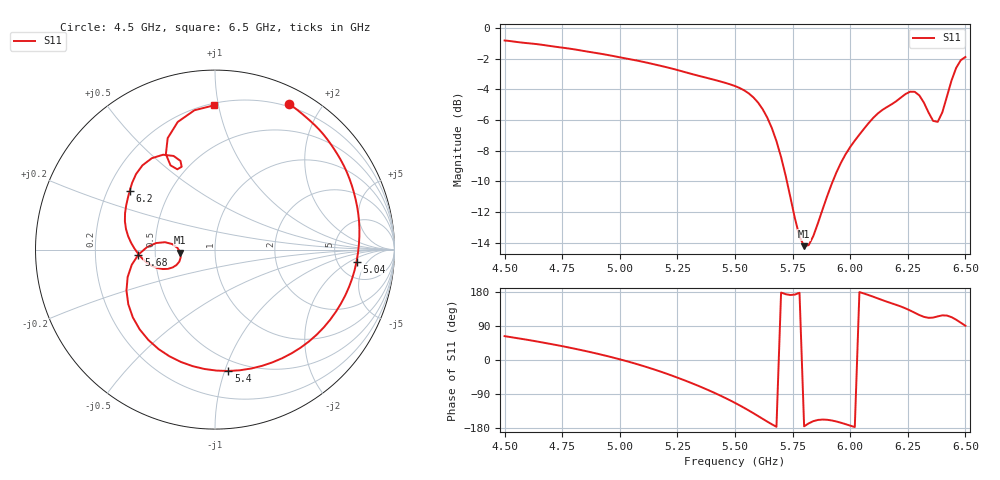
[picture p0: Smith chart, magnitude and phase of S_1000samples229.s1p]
! TOUCHSTONE file generated by CST MICROWAVE STUDIO
! Date and time: Thu Oct 27 11:04:30 2022
! Project name: L.cst
! Parameters = {Di=1.27; Epsilon_r=1.56; InnerDiameter=1.27; Length=2; Lf=10; Lg=60; OuterConductorThickness=0.2921; OuterDiameter=3.6; Wf=3; Wp=41.2; de=1.5; df=6.8; g=0.8; gx=1.44995; gy=0.544744; h=2.34; hf=1.524; px=8.65801; py=11.2302; w=9.7; wx=7.20805; wy=10.6855}
! Header version: 2018
! Port assignment regex: !\s*Touchstone port\s*([0-9]+)\s*=\s*(CST MWS port|CST DS port)\s*([0-9]+|Zmin|Zmax)\s*\(\"(.*)\"\)(\s*mode\s*([0-9]+))?.*
! Touchstone port assignment:
! Touchstone port 1 = CST MWS port 1 ("")
# GHz S DB R 50
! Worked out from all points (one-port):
!   101 points, 4.5 GHz to 6.5 GHz, reference 50 ohm
!   lowest |S11| = -14.2 dB at 5.8 GHz (marker M1), VSWR 1.48, Z = 33.8 - j1.18 ohm
!   |S11| at or under -10 dB: 5.725 GHz to 5.924 GHz (199.1 MHz wide, 3.42 % of centre)
!   S11 on the Smith chart (normalised r, x): 4.5 GHz: 0.17, +1.62; 5.04 GHz: 7.61, -2.71; 5.4 GHz: 0.41, -1.03; 5.68 GHz: 0.40, -0.03; 6.2 GHz: 0.29, +0.29; 6.5 GHz: 0.21, +0.97
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4.5  -0.82 63.0
4.76  -1.31 35.3
4.9  -1.64 17.0
5  -1.92 1.8
5.04  -2.03 -4.8
5.16  -2.41 -27.2
5.26  -2.79 -48.8
5.4  -3.35 -83.7
5.5  -3.79 -113.1
5.6  -4.87 -147.8
5.64  -5.84 -162.5
5.68  -7.39 -176.3
5.72  -9.64 173.6
5.76  -12.41 172.7
5.8  -14.23 -175.0
5.84  -13.56 -161.4
5.9  -10.97 -157.8
6  -7.76 -173.2
6.1  -5.87 167.0
6.2  -4.78 145.5
6.26  -4.16 130.7
6.3  -4.40 118.7
6.34  -5.51 111.3
6.38  -6.12 115.1
6.4  -5.50 117.8
6.44  -3.42 113.0
6.48  -2.10 98.4
6.5  -1.90 90.4
